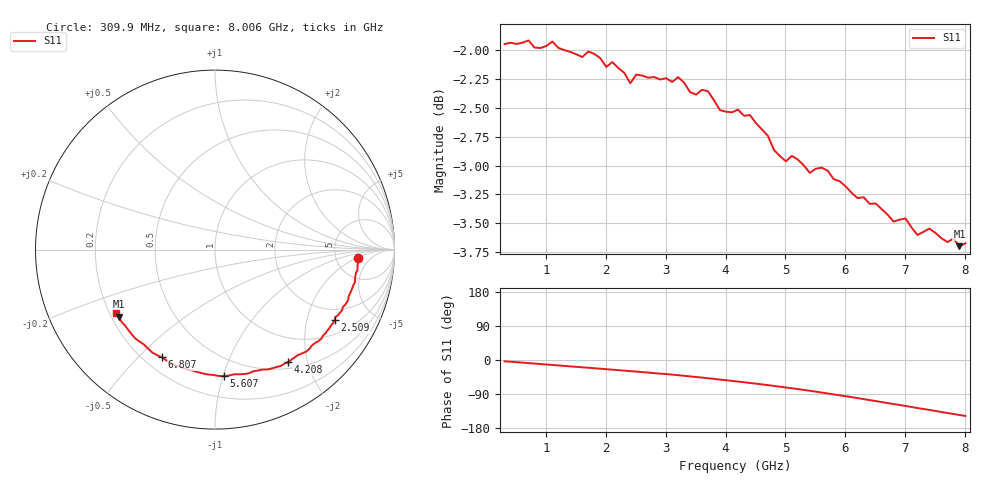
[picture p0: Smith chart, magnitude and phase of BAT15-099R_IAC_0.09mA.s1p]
! Infineon Technologies  Discrete & RF Semiconductors
! BAT15-099R
! IAC = 0.09 mA
! One-Port S-Parameters
# Hz  S  MA  R  50
!f  S11
!Hz  Mag  Ang
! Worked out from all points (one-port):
!   78 points, 309.9 MHz to 8.006 GHz, reference 50 ohm
!   lowest |S11| = -3.7 dB at 7.906 GHz (marker M1), VSWR 4.77, Z = 11.5 - j14.9 ohm
!   |S11| at or under -10 dB: nowhere
!   S11 on the Smith chart (normalised r, x): 309.9 MHz: 8.33, -2.26; 2.509 GHz: 1.50, -2.96; 4.208 GHz: 0.59, -1.69; 5.607 GHz: 0.36, -1.01; 6.807 GHz: 0.27, -0.59; 8.006 GHz: 0.23, -0.28
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3.0985e8  0.799 -3.5
7.0965e8  0.8019 -8.2
9.0955e8  0.7958 -10.7
1.10945e9  0.801 -13.1
1.30935e9  0.7942 -15.6
1.70915e9  0.7931 -20.4
2.009e9  0.781 -24.3
2.10895e9  0.7849 -25.4
2.30885e9  0.7764 -28.1
2.4088e9  0.7684 -29.4
2.50875e9  0.775 -30.6
3.2084e9  0.7731 -40.0
3.50825e9  0.7598 -44.9
3.6082e9  0.7634 -46.4
4.2079e9  0.7485 -56.9
4.4078e9  0.7444 -60.6
4.90755e9  0.7147 -70.5
5.2074e9  0.7122 -76.6
5.6072e9  0.7065 -85.9
5.90705e9  0.697 -93.2
6.10695e9  0.6889 -98.1
6.50675e9  0.6817 -108.4
6.8066e9  0.6695 -116.3
7.0065e9  0.6716 -121.3
7.10645e9  0.6656 -124.0
7.4063e9  0.6649 -131.8
7.90605e9  0.6533 -145.2
8.006e9  0.6551 -147.5
